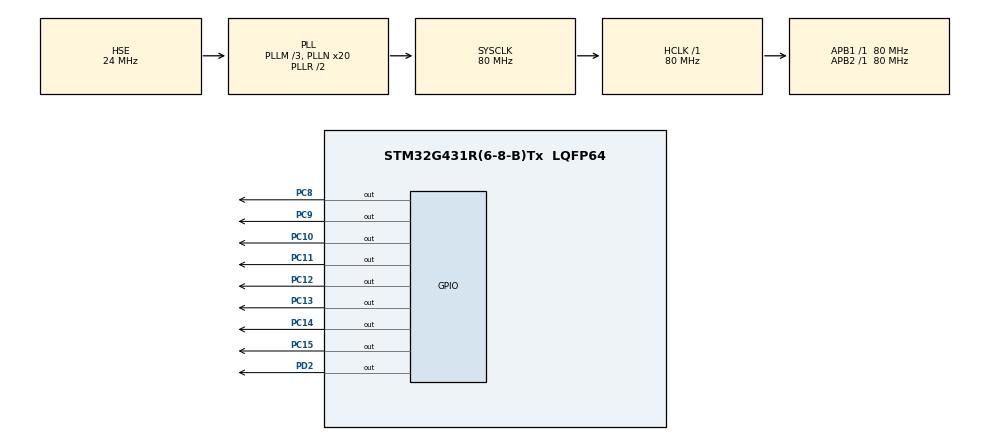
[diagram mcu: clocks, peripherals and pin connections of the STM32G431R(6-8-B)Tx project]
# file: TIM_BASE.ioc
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Mcu.Family=STM32G4
Mcu.Name=STM32G431R(6-8-B)Tx
Mcu.Package=LQFP64
NVIC.PriorityGroup=NVIC_PRIORITYGROUP_4
NVIC.TIM1_UP_TIM16_IRQn=true\:0\:0\:false\:false\:true\:true\:true
PA13.Mode=Serial_Wire
PA13.Signal=SYS_JTMS-SWDIO
PA14.Mode=Serial_Wire
PA14.Signal=SYS_JTCK-SWCLK
PC10.Signal=GPIO_Output
PC11.Signal=GPIO_Output
PC12.Signal=GPIO_Output
PC13.Signal=GPIO_Output
PC14-OSC32_IN.Signal=GPIO_Output
PC15-OSC32_OUT.Signal=GPIO_Output
PC8.Signal=GPIO_Output
PC9.Signal=GPIO_Output
PD2.Signal=GPIO_Output
PF0-OSC_IN.Mode=HSE-External-Oscillator
PF0-OSC_IN.Signal=RCC_OSC_IN
PF1-OSC_OUT.Mode=HSE-External-Oscillator
PF1-OSC_OUT.Signal=RCC_OSC_OUT
ProjectManager.HeapSize=0x200
ProjectManager.StackSize=0x400
ProjectManager.TargetToolchain=MDK-ARM V5.27
RCC.ADC12Freq_Value=80000000
RCC.AHBFreq_Value=80000000
RCC.APB1Freq_Value=80000000
RCC.APB1TimFreq_Value=80000000
RCC.APB2Freq_Value=80000000
RCC.APB2TimFreq_Value=80000000
RCC.CortexFreq_Value=80000000
RCC.EXTERNAL_CLOCK_VALUE=12288000
RCC.HCLKFreq_Value=80000000
RCC.HSE_VALUE=24000000
RCC.HSI48_VALUE=48000000
RCC.HSI_VALUE=16000000
RCC.LSE_VALUE=32768
RCC.PLLM=RCC_PLLM_DIV3
RCC.PLLN=20
RCC.PLLSourceVirtual=RCC_PLLSOURCE_HSE
RCC.SYSCLKFreq_VALUE=80000000
RCC.SYSCLKSource=RCC_SYSCLKSOURCE_PLLCLK
RCC.USBFreq_Value=80000000
RCC.VCOOutputFreq_Value=160000000
TIM1.PeriodNoDither=79
TIM1.Prescaler=999
VP_SYS_VS_DBSignals.Mode=DisableDeadBatterySignals
VP_TIM1_VS_ClockSourceINT.Mode=Internal
board=custom

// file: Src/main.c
/* USER CODE BEGIN Header */
/**
  ******************************************************************************
  * @file           : main.c
  * @brief          : Main program body
  ******************************************************************************
  * @attention
  *
  * <h2><center>&copy; Copyright (c) 2023 STMicroelectronics.
  * All rights reserved.</center></h2>
  *
  * This software component is licensed by ST under BSD 3-Clause license,
  * the "License"; You may not use this file except in compliance with the
  * License. You may obtain a copy of the License at:
  *                        opensource.org/licenses/BSD-3-Clause
  *
  ******************************************************************************
  */
/* USER CODE END Header */

#include "main.h"
#include "tim.h"
#include "gpio.h"

/* USER CODE BEGIN Includes */
#include "lcd_hal.h"
/* USER CODE END Includes */

/* USER CODE BEGIN PV */
uint16_t count=0;
/* USER CODE END PV */

void SystemClock_Config(void);
/* USER CODE BEGIN PFP */
void CloseLed(void);
/* USER CODE END PFP */

int main(void)
{

  /* MCU Configuration--------------------------------------------------------*/

  /* Reset of all peripherals, Initializes the Flash interface and the Systick. */
  HAL_Init();

  /* Configure the system clock */
  SystemClock_Config();

  /* Initialize all configured peripherals */
  MX_GPIO_Init();
  MX_TIM1_Init();
  /* USER CODE BEGIN 2 */
  HAL_TIM_Base_Start_IT (&htim1);
  LCD_Init();
  LCD_Clear(Black);
  LCD_SetTextColor(White);
  LCD_SetBackColor(Black);
  LCD_DisplayStringLine(Line0,"TIM_BASE Test ");
  CloseLed();
  /* USER CODE END 2 */

  /* Infinite loop */
  while (1)
  {

  }
}

void SystemClock_Config(void)
{
  RCC_OscInitTypeDef RCC_OscInitStruct = {0};
  RCC_ClkInitTypeDef RCC_ClkInitStruct = {0};

  /** Configure the main internal regulator output voltage
  */
  HAL_PWREx_ControlVoltageScaling(PWR_REGULATOR_VOLTAGE_SCALE1);
  /** Initializes the CPU, AHB and APB busses clocks
  */
  RCC_OscInitStruct.OscillatorType = RCC_OSCILLATORTYPE_HSE;
  RCC_OscInitStruct.HSEState = RCC_HSE_ON;
  RCC_OscInitStruct.PLL.PLLState = RCC_PLL_ON;
  RCC_OscInitStruct.PLL.PLLSource = RCC_PLLSOURCE_HSE;
  RCC_OscInitStruct.PLL.PLLM = RCC_PLLM_DIV3;
  RCC_OscInitStruct.PLL.PLLN = 20;
  RCC_OscInitStruct.PLL.PLLP = RCC_PLLP_DIV2;
  RCC_OscInitStruct.PLL.PLLQ = RCC_PLLQ_DIV2;
  RCC_OscInitStruct.PLL.PLLR = RCC_PLLR_DIV2;
  if (HAL_RCC_OscConfig(&RCC_OscInitStruct) != HAL_OK)
  {
    Error_Handler();
  }
  /** Initializes the CPU, AHB and APB busses clocks
  */
  RCC_ClkInitStruct.ClockType = RCC_CLOCKTYPE_HCLK|RCC_CLOCKTYPE_SYSCLK
                              |RCC_CLOCKTYPE_PCLK1|RCC_CLOCKTYPE_PCLK2;
  RCC_ClkInitStruct.SYSCLKSource = RCC_SYSCLKSOURCE_PLLCLK;
  RCC_ClkInitStruct.AHBCLKDivider = RCC_SYSCLK_DIV1;
  RCC_ClkInitStruct.APB1CLKDivider = RCC_HCLK_DIV1;
  RCC_ClkInitStruct.APB2CLKDivider = RCC_HCLK_DIV1;

  if (HAL_RCC_ClockConfig(&RCC_ClkInitStruct, FLASH_LATENCY_3) != HAL_OK)
  {
    Error_Handler();
  }
}

/* USER CODE BEGIN 4 */
void CloseLed(void)
{
	HAL_GPIO_WritePin(GPIOC, GPIO_PIN_8 | GPIO_PIN_9 | GPIO_PIN_10 | GPIO_PIN_11 |
							 GPIO_PIN_12 | GPIO_PIN_13 | GPIO_PIN_14 | GPIO_PIN_15 ,GPIO_PIN_SET);
	HAL_GPIO_WritePin(GPIOD,GPIO_PIN_2,GPIO_PIN_SET);
	HAL_GPIO_WritePin(GPIOD,GPIO_PIN_2,GPIO_PIN_RESET);
}
void HAL_TIM_PeriodElapsedCallback(TIM_HandleTypeDef *htim)
{
	static uint8_t i=1;
	static uint8_t j=0;
	if(++count==1000)
	{
		HAL_GPIO_WritePin(GPIOC,GPIO_PIN_8<<i,GPIO_PIN_RESET);
		HAL_GPIO_WritePin(GPIOC,GPIO_PIN_8<<j,GPIO_PIN_SET);
		if(++j==8) j=0;
		if(++i==8) i=0;
		HAL_GPIO_WritePin(GPIOD,GPIO_PIN_2,GPIO_PIN_SET);
		HAL_GPIO_WritePin(GPIOD,GPIO_PIN_2,GPIO_PIN_RESET);
		count = 0;
	}
}
/* USER CODE END 4 */

void Error_Handler(void)
{
}

/************************ (C) COPYRIGHT STMicroelectronics *****END OF FILE****/
